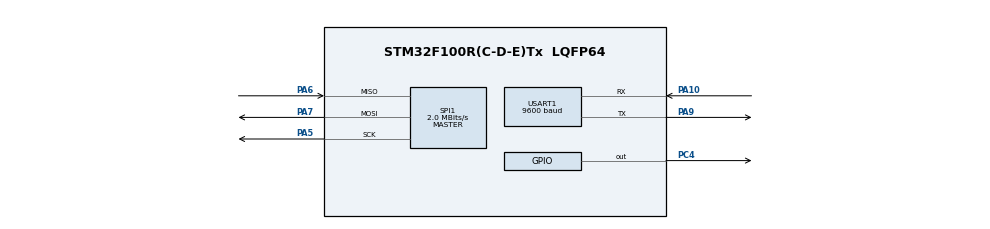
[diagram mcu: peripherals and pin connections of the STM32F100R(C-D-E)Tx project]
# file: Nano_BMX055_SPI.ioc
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Mcu.Family=STM32F1
Mcu.Name=STM32F100R(C-D-E)Tx
Mcu.Package=LQFP64
NVIC.PriorityGroup=NVIC_PRIORITYGROUP_4
NVIC.USART1_IRQn=true\:0\:0\:false\:false\:true\:true\:true
PA10.Mode=Asynchronous
PA10.Signal=USART1_RX
PA13.Mode=Serial_Wire
PA13.Signal=SYS_JTMS-SWDIO
PA14.Mode=Serial_Wire
PA14.Signal=SYS_JTCK-SWCLK
PA5.Mode=Full_Duplex_Master
PA5.Signal=SPI1_SCK
PA6.Mode=Full_Duplex_Master
PA6.Signal=SPI1_MISO
PA7.Mode=Full_Duplex_Master
PA7.Signal=SPI1_MOSI
PA9.Mode=Asynchronous
PA9.Signal=USART1_TX
PC14-OSC32_IN.Mode=LSE-External-Oscillator
PC14-OSC32_IN.Signal=RCC_OSC32_IN
PC15-OSC32_OUT.Mode=LSE-External-Oscillator
PC15-OSC32_OUT.Signal=RCC_OSC32_OUT
PC4.Signal=GPIO_Output
PD0-OSC_IN.Mode=HSE-External-Oscillator
PD0-OSC_IN.Signal=RCC_OSC_IN
PD1-OSC_OUT.Mode=HSE-External-Oscillator
PD1-OSC_OUT.Signal=RCC_OSC_OUT
ProjectManager.HeapSize=0x200
ProjectManager.StackSize=0x400
ProjectManager.TargetToolchain=MDK-ARM V5.27
RCC.AHBCLKDivider=RCC_SYSCLK_DIV2
RCC.AHBFreq_Value=4000000
RCC.APB1Freq_Value=4000000
RCC.APB1TimFreq_Value=4000000
RCC.APB2Freq_Value=4000000
RCC.APB2TimFreq_Value=4000000
RCC.HCLKFreq_Value=4000000
SPI1.BaudRatePrescaler=SPI_BAUDRATEPRESCALER_2
SPI1.CLKPhase=SPI_PHASE_2EDGE
SPI1.CLKPolarity=SPI_POLARITY_HIGH
SPI1.CalculateBaudRate=2.0 MBits/s
SPI1.Direction=SPI_DIRECTION_2LINES
SPI1.Mode=SPI_MODE_MASTER
SPI1.VirtualType=VM_MASTER
USART1.BaudRate=9600
USART1.VirtualMode=VM_ASYNC
board=custom

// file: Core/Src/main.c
/* USER CODE BEGIN Header */
/**
  ******************************************************************************
  * @file           : main.c
  * @brief          : Main program body
  ******************************************************************************
  * @attention
  *
  * <h2><center>&copy; Copyright (c) 2021 STMicroelectronics.
  * All rights reserved.</center></h2>
  *
  * This software component is licensed by ST under BSD 3-Clause license,
  * the "License"; You may not use this file except in compliance with the
  * License. You may obtain a copy of the License at:
  *                        opensource.org/licenses/BSD-3-Clause
  *
  ******************************************************************************
  */
/* USER CODE END Header */
#include "main.h"

/* USER CODE BEGIN Includes */
#define ReadCommand address  0x80;
#define Register address  0x02;
#define Sensor Temp address 0x08;

/* USER CODE END Includes */

SPI_HandleTypeDef hspi1;

UART_HandleTypeDef huart1;

uint8_t ID,t,x,x1,y,y1,z,z1;
uint8_t Rx_buf, Tx_Buf[3], R_Buff[8];

void SystemClock_Config(void);
static void MX_GPIO_Init(void);
static void MX_SPI1_Init(void);
static void MX_USART1_UART_Init(void);

/* USER CODE BEGIN 0 */

// Function to read from the sensor
uint8_t BMX_SPI_Read(uint8_t address)
{
	address |= 0x80;
	//address |= 0x02;
	HAL_GPIO_WritePin(GPIOC ,GPIO_PIN_4, GPIO_PIN_RESET);
	HAL_SPI_Transmit(&hspi1, &address, 1, 100);
	HAL_SPI_Receive(&hspi1, &Rx_buf, 8, 50);
	HAL_GPIO_WritePin(GPIOC ,GPIO_PIN_4, GPIO_PIN_SET);
	return Rx_buf;
}

// Function to write to the sensor
void BMX_SPI_Write(uint16_t address , uint8_t Data)
{
	Tx_Buf[0]= address|0x02;
	Tx_Buf[2]= Data;
	HAL_GPIO_WritePin(GPIOC ,GPIO_PIN_4, GPIO_PIN_RESET);
	HAL_SPI_Transmit(&hspi1, Tx_Buf,6,100);
	HAL_GPIO_WritePin(GPIOC ,GPIO_PIN_4, GPIO_PIN_SET);
}
//void BMX_Init(void)
//{
//	BMX_SPI_write(0x00);
//}

/* USER CODE END 0 */

int main(void)
{

  /* MCU Configuration--------------------------------------------------------*/

  /* Reset of all peripherals, Initializes the Flash interface and the Systick. */
  HAL_Init();

  /* Configure the system clock */
  SystemClock_Config();

  /* Initialize all configured peripherals */
  MX_GPIO_Init();
  MX_SPI1_Init();
  MX_USART1_UART_Init();
  /* USER CODE BEGIN 2 */
	__HAL_UART_ENABLE_IT(&huart1, UART_IT_RXNE);

  /* USER CODE END 2 */

  /* Infinite loop */
  while (1)
  {

    /* USER CODE BEGIN 3 */
		ID = BMX_SPI_Read(0x00);
	  t= BMX_SPI_Read(0x08);
		x= BMX_SPI_Read(0x02);
		x1= BMX_SPI_Read(0x03);
		y= BMX_SPI_Read(0x04);
		y1= BMX_SPI_Read(0x05);
		z= BMX_SPI_Read(0x06);
		z1= BMX_SPI_Read(0x07);
		R_Buff[0]=t;
		R_Buff[1]=x;
		R_Buff[2]=x1;
		R_Buff[3]=y;
		R_Buff[4]=y1;
		R_Buff[5]=z;
		R_Buff[6]=z1;
  }
  /* USER CODE END 3 */
}

void SystemClock_Config(void)
{
  RCC_OscInitTypeDef RCC_OscInitStruct = {0};
  RCC_ClkInitTypeDef RCC_ClkInitStruct = {0};

  /** Initializes the RCC Oscillators according to the specified parameters
  * in the RCC_OscInitTypeDef structure.
  */
  RCC_OscInitStruct.OscillatorType = RCC_OSCILLATORTYPE_HSI;
  RCC_OscInitStruct.HSIState = RCC_HSI_ON;
  RCC_OscInitStruct.HSICalibrationValue = RCC_HSICALIBRATION_DEFAULT;
  RCC_OscInitStruct.PLL.PLLState = RCC_PLL_NONE;
  if (HAL_RCC_OscConfig(&RCC_OscInitStruct) != HAL_OK)
  {
    Error_Handler();
  }
  /** Initializes the CPU, AHB and APB buses clocks
  */
  RCC_ClkInitStruct.ClockType = RCC_CLOCKTYPE_HCLK|RCC_CLOCKTYPE_SYSCLK
                              |RCC_CLOCKTYPE_PCLK1|RCC_CLOCKTYPE_PCLK2;
  RCC_ClkInitStruct.SYSCLKSource = RCC_SYSCLKSOURCE_HSI;
  RCC_ClkInitStruct.AHBCLKDivider = RCC_SYSCLK_DIV2;
  RCC_ClkInitStruct.APB1CLKDivider = RCC_HCLK_DIV1;
  RCC_ClkInitStruct.APB2CLKDivider = RCC_HCLK_DIV1;

  if (HAL_RCC_ClockConfig(&RCC_ClkInitStruct, FLASH_LATENCY_0) != HAL_OK)
  {
    Error_Handler();
  }
}

static void MX_SPI1_Init(void)
{

  /* SPI1 parameter configuration*/
  hspi1.Instance = SPI1;
  hspi1.Init.Mode = SPI_MODE_MASTER;
  hspi1.Init.Direction = SPI_DIRECTION_2LINES;
  hspi1.Init.DataSize = SPI_DATASIZE_8BIT;
  hspi1.Init.CLKPolarity = SPI_POLARITY_HIGH;
  hspi1.Init.CLKPhase = SPI_PHASE_2EDGE;
  hspi1.Init.NSS = SPI_NSS_SOFT;
  hspi1.Init.BaudRatePrescaler = SPI_BAUDRATEPRESCALER_2;
  hspi1.Init.FirstBit = SPI_FIRSTBIT_MSB;
  hspi1.Init.TIMode = SPI_TIMODE_DISABLE;
  hspi1.Init.CRCCalculation = SPI_CRCCALCULATION_DISABLE;
  hspi1.Init.CRCPolynomial = 10;
  if (HAL_SPI_Init(&hspi1) != HAL_OK)
  {
    Error_Handler();
  }

}

static void MX_USART1_UART_Init(void)
{

  huart1.Instance = USART1;
  huart1.Init.BaudRate = 9600;
  huart1.Init.WordLength = UART_WORDLENGTH_8B;
  huart1.Init.StopBits = UART_STOPBITS_1;
  huart1.Init.Parity = UART_PARITY_NONE;
  huart1.Init.Mode = UART_MODE_TX_RX;
  huart1.Init.HwFlowCtl = UART_HWCONTROL_NONE;
  huart1.Init.OverSampling = UART_OVERSAMPLING_16;
  if (HAL_UART_Init(&huart1) != HAL_OK)
  {
    Error_Handler();
  }

}

static void MX_GPIO_Init(void)
{
  GPIO_InitTypeDef GPIO_InitStruct = {0};

  /* GPIO Ports Clock Enable */
  __HAL_RCC_GPIOC_CLK_ENABLE();
  __HAL_RCC_GPIOD_CLK_ENABLE();
  __HAL_RCC_GPIOA_CLK_ENABLE();

  /*Configure GPIO pin Output Level */
  HAL_GPIO_WritePin(GPIOC, GPIO_PIN_4, GPIO_PIN_RESET);

  /*Configure GPIO pin : PC4 */
  GPIO_InitStruct.Pin = GPIO_PIN_4;
  GPIO_InitStruct.Mode = GPIO_MODE_OUTPUT_PP;
  GPIO_InitStruct.Pull = GPIO_NOPULL;
  GPIO_InitStruct.Speed = GPIO_SPEED_FREQ_LOW;
  HAL_GPIO_Init(GPIOC, &GPIO_InitStruct);

}

void Error_Handler(void)
{
}

/************************ (C) COPYRIGHT STMicroelectronics *****END OF FILE****/
